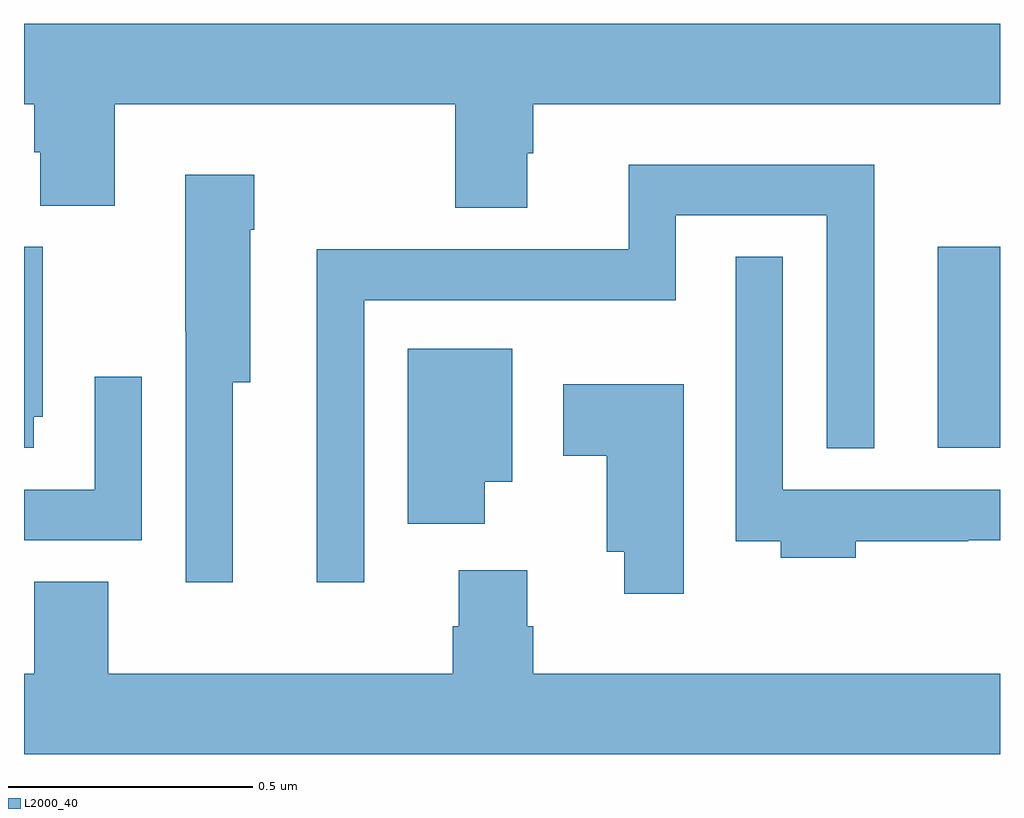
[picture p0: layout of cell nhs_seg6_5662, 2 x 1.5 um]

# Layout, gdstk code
import gdstk
lib = gdstk.Library(unit=1e-6, precision=1e-09)
def R(c, l, rs):  # rectangles x0, y0, x1, y1
    for r in rs: c.add(gdstk.rectangle(r[:2], r[2:], *l))
def P(c, l, *ps):  # polygons
    for p in ps: c.add(gdstk.Polygon(p, *l))
L2000_40 = (2000, 40)

nhs_seg6_5662 = lib.new_cell('nhs_seg6_5662')
R(nhs_seg6_5662, L2000_40, [(186.872,990.588,187,990.999)])
P(nhs_seg6_5662, L2000_40, [(186.031,991.191),(186.044,991.191),(186.044,991.292),(187,991.292),(187,991.456),(185,991.456),(185,991.292),(185.021,991.292),(185.021,991.193),(185.033,991.193),(185.033,991.084),(185.186,991.084),(185.186,991.292),(185.884,991.292),(185.884,991.079),(186.031,991.079)],
  [(185.697,990.89),(186.336,990.89),(186.336,991.064),(186.645,991.064),(186.645,990.587),(186.742,990.587),(186.742,991.168),(186.239,991.168),(186.239,990.994),(185.6,990.994),(185.6,990.312),(185.697,990.312)],
  [(185.428,990.722),(185.464,990.722),(185.464,991.034),(185.472,991.034),(185.472,991.147),(185.33,991.147),(185.33,990.826),(185.331,990.826),(185.331,990.312),(185.428,990.312)],
  [(185.02,990.651),(185.038,990.651),(185.038,990.999),(185,990.999),(185,990.588),(185.02,990.588)],
  [(186.704,990.396),(186.935,990.396),(186.935,990.398),(187,990.398),(187,990.502),(186.555,990.502),(186.555,990.979),(186.459,990.979),(186.459,990.396),(186.551,990.396),(186.551,990.362),(186.704,990.362)],
  [(185.944,990.518),(186.001,990.518),(186.001,990.79),(185.786,990.79),(185.786,990.432),(185.944,990.432)],
  [(185.241,990.733),(185.145,990.733),(185.145,990.502),(185,990.502),(185,990.398),(185.241,990.398)],
  [(186.352,990.718),(186.105,990.718),(186.105,990.571),(186.194,990.571),(186.194,990.374),(186.23,990.374),(186.23,990.288),(186.352,990.288)],
  [(187,990.124),(186.044,990.124),(186.044,990.222),(186.031,990.222),(186.031,990.337),(185.891,990.337),(185.891,990.222),(185.879,990.222),(185.879,990.124),(185.173,990.124),(185.173,990.313),(185.021,990.313),(185.021,990.124),(185,990.124),(185,989.96),(187,989.96)])

lib.write_gds('nhs_seg6_5662.gds')
